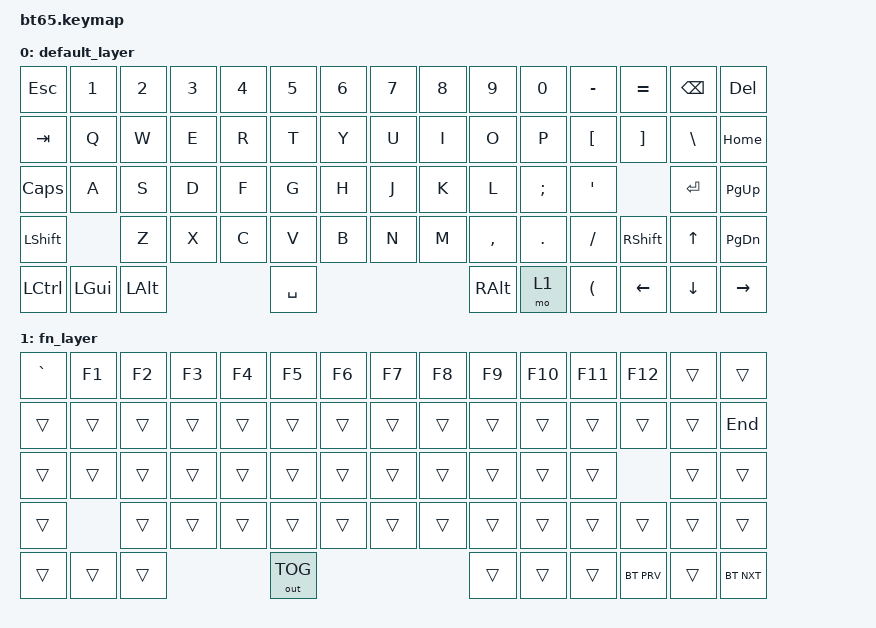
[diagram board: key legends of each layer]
#include <behaviors.dtsi>
#include <dt-bindings/zmk/keys.h>
#include <dt-bindings/zmk/bt.h>
#include <dt-bindings/zmk/outputs.h>

/ {
    keymap {
        compatible = "zmk,keymap";

        default_layer {
            bindings = <
                &kp ESC   &kp N1    &kp N2    &kp N3    &kp N4    &kp N5    &kp N6    &kp N7    &kp N8    &kp N9    &kp N0    &kp MINUS &kp EQUAL &kp BSPC  &kp DEL
                &kp TAB   &kp Q     &kp W     &kp E     &kp R     &kp T     &kp Y     &kp U     &kp I     &kp O     &kp P     &kp LBKT  &kp RBKT  &kp BSLH  &kp HOME
                &kp CLCK  &kp A     &kp S     &kp D     &kp F     &kp G     &kp H     &kp J     &kp K     &kp L     &kp SEMI  &kp SQT             &kp ENTER &kp PG_UP
                &kp LSHFT           &kp Z     &kp X     &kp C     &kp V     &kp B     &kp N     &kp M     &kp COMMA &kp DOT   &kp FSLH  &kp RSHFT &kp UP    &kp PG_DN
                &kp LCTRL &kp LGUI  &kp LALT                      &kp SPACE                               &kp RALT  &mo 1     &kp LPAR  &kp LEFT  &kp DOWN  &kp RIGHT
            >;
        };

        fn_layer {
            bindings = <
                &kp GRAVE &kp F1    &kp F2    &kp F3    &kp F4    &kp F5    &kp F6    &kp F7    &kp F8    &kp F9    &kp F10   &kp F11   &kp F12   &trans    &trans
                &trans    &trans    &trans    &trans    &trans    &trans    &trans    &trans    &trans    &trans    &trans    &trans    &trans    &trans    &kp END
                &trans    &trans    &trans    &trans    &trans    &trans    &trans    &trans    &trans    &trans    &trans    &trans              &trans    &trans
                &trans              &trans    &trans    &trans    &trans    &trans    &trans    &trans    &trans    &trans    &trans    &trans    &trans    &trans
                &trans    &trans    &trans                      &out OUT_TOG                                      &trans    &trans    &trans    &bt BT_PRV &trans    &bt BT_NXT
            >;
        };
    };
};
